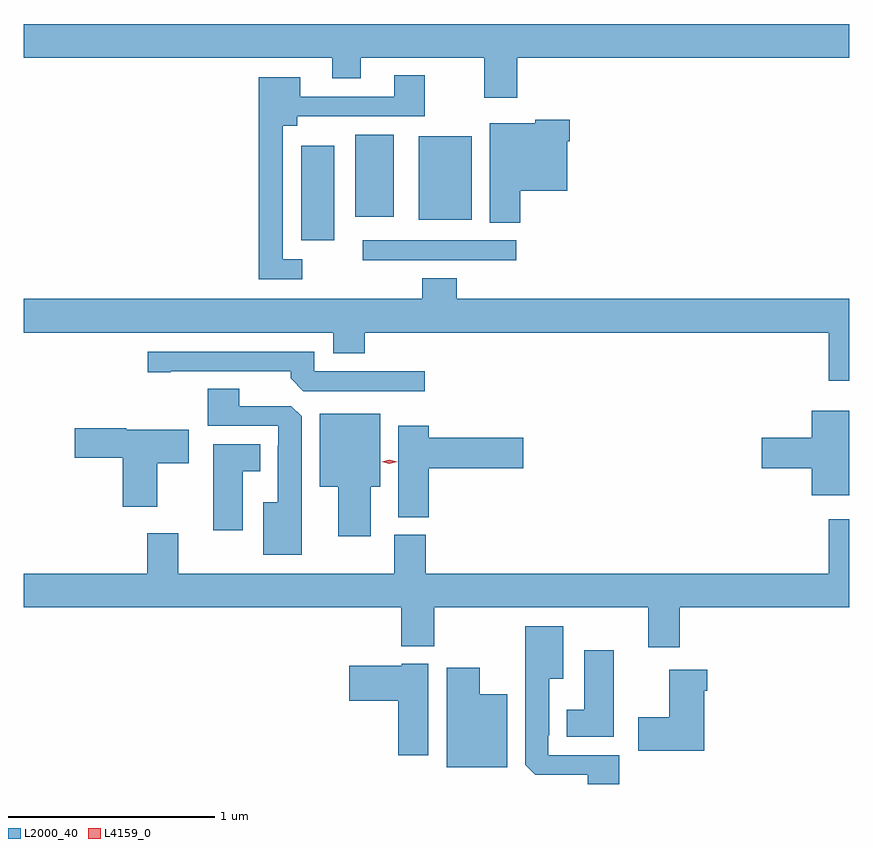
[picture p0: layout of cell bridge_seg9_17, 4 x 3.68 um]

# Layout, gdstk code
import gdstk
lib = gdstk.Library(unit=1e-6, precision=1e-09)
def R(c, l, rs):  # rectangles x0, y0, x1, y1
    for r in rs: c.add(gdstk.rectangle(r[:2], r[2:], *l))
def P(c, l, *ps):  # polygons
    for p in ps: c.add(gdstk.Polygon(p, *l))
L2000_40 = (2000, 40)
L4159_0 = (4159, 0)

bridge_seg9_17 = lib.new_cell('bridge_seg9_17')
R(bridge_seg9_17, L2000_40, [(928.857,1240.728,929.602,1240.824), (928.559,1240.823,928.72,1241.281), (929.129,1240.922,929.386,1241.329), (928.82,1240.937,929.008,1241.335)])
P(bridge_seg9_17, L2000_40, [(929.606,1241.708),(931.215,1241.708),(931.215,1241.872),(927.215,1241.872),(927.215,1241.708),(928.709,1241.708),(928.709,1241.609),(928.849,1241.609),(928.849,1241.708),(929.446,1241.708),(929.446,1241.514),(929.606,1241.514)],
  [(928.564,1240.731),(928.47,1240.731),(928.47,1241.378),(928.54,1241.378),(928.54,1241.424),(929.157,1241.424),(929.157,1241.623),(929.009,1241.623),(929.009,1241.52),(928.555,1241.52),(928.555,1241.614),(928.354,1241.614),(928.354,1240.635),(928.564,1240.635)],
  [(929.621,1241.063),(929.848,1241.063),(929.848,1241.303),(929.861,1241.303),(929.861,1241.407),(929.694,1241.407),(929.694,1241.392),(929.474,1241.392),(929.474,1240.909),(929.621,1240.909)],
  [(931.215,1240.54),(929.312,1240.54),(929.312,1240.639),(929.147,1240.639),(929.147,1240.54),(927.215,1240.54),(927.215,1240.376),(928.715,1240.376),(928.715,1240.277),(928.868,1240.277),(928.868,1240.376),(931.117,1240.376),(931.117,1240.143),(931.215,1240.143)],
  [(929.158,1240.188),(928.623,1240.188),(928.623,1240.284),(927.816,1240.284),(927.816,1240.183),(927.928,1240.183),(927.928,1240.188),(928.508,1240.188),(928.508,1240.154),(928.569,1240.092),(929.158,1240.092)],
  [(928.561,1239.971),(928.512,1240.02),(928.258,1240.02),(928.258,1240.103),(928.106,1240.103),(928.106,1239.924),(928.449,1239.924),(928.449,1239.827),(928.445,1239.827),(928.445,1239.553),(928.376,1239.553),(928.376,1239.299),(928.561,1239.299)],
  [(931.215,1239.997),(931.034,1239.997),(931.034,1239.866),(930.792,1239.866),(930.792,1239.719),(931.034,1239.719),(931.034,1239.587),(931.215,1239.587)],
  [(928.897,1239.629),(928.942,1239.629),(928.942,1239.982),(928.649,1239.982),(928.649,1239.629),(928.739,1239.629),(928.739,1239.39),(928.897,1239.39)],
  [(929.177,1239.719),(929.635,1239.719),(929.635,1239.866),(929.177,1239.866),(929.177,1239.925),(929.03,1239.925),(929.03,1239.481),(929.177,1239.481)],
  [(927.862,1239.742),(928.015,1239.742),(928.015,1239.904),(927.711,1239.904),(927.711,1239.912),(927.462,1239.912),(927.462,1239.77),(927.695,1239.77),(927.695,1239.531),(927.862,1239.531)],
  [(928.276,1239.704),(928.36,1239.704),(928.36,1239.835),(928.133,1239.835),(928.133,1239.417),(928.276,1239.417)],
  [(930.395,1239.044),(931.215,1239.044),(931.215,1239.472),(931.117,1239.472),(931.117,1239.208),(929.162,1239.208),(929.162,1239.396),(929.009,1239.396),(929.009,1239.208),(927.964,1239.208),(927.964,1239.403),(927.812,1239.403),(927.812,1239.208),(927.215,1239.208),(927.215,1239.044),(929.045,1239.044),(929.045,1238.855),(929.205,1238.855),(929.205,1239.044),(930.242,1239.044),(930.242,1238.85),(930.395,1238.85)],
  [(930.101,1238.328),(929.757,1238.328),(929.757,1238.425),(929.761,1238.425),(929.761,1238.699),(929.83,1238.699),(929.83,1238.953),(929.645,1238.953),(929.645,1238.281),(929.694,1238.232),(929.948,1238.232),(929.948,1238.188),(930.101,1238.188)],
  [(930.073,1238.836),(929.93,1238.836),(929.93,1238.548),(929.846,1238.548),(929.846,1238.417),(930.073,1238.417)],
  [(929.176,1238.77),(929.046,1238.77),(929.046,1238.761),(928.791,1238.761),(928.791,1238.591),(929.03,1238.591),(929.03,1238.328),(929.176,1238.328)],
  [(929.557,1238.623),(929.425,1238.623),(929.425,1238.752),(929.264,1238.752),(929.264,1238.27),(929.557,1238.27)],
  [(930.514,1238.639),(930.527,1238.639),(930.527,1238.743),(930.344,1238.743),(930.344,1238.511),(930.192,1238.511),(930.192,1238.348),(930.514,1238.348)])
P(bridge_seg9_17, L4159_0, [(928.987,1239.74),(928.95,1239.75),(928.949,1239.75),(928.95,1239.751),(928.987,1239.76),(929.024,1239.751),(929.025,1239.75),(929.024,1239.75)])

lib.write_gds('bridge_seg9_17.gds')
